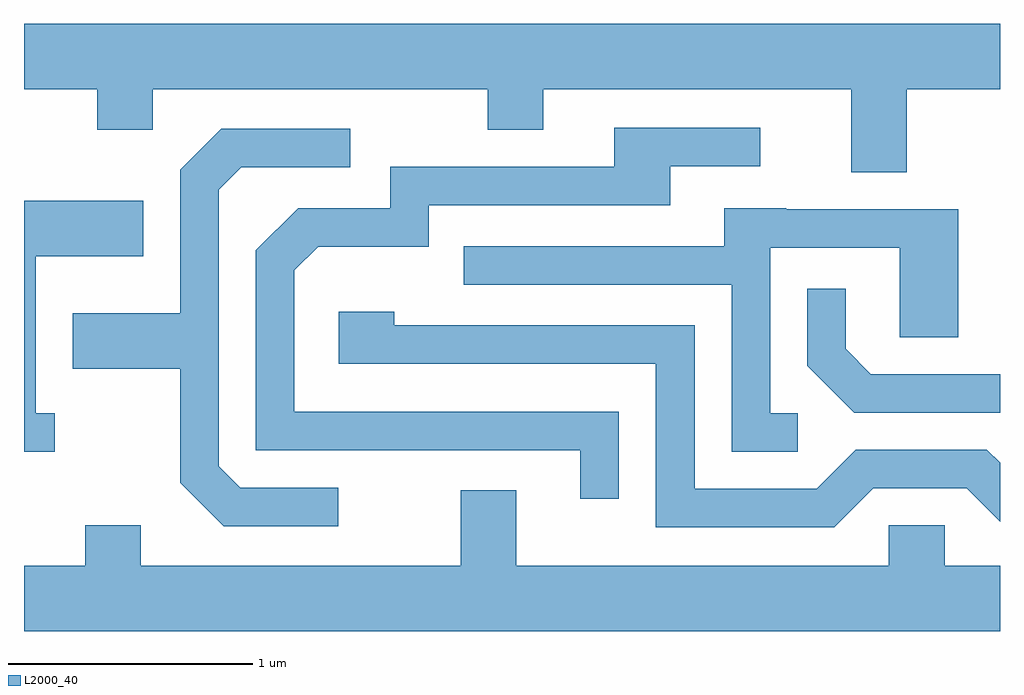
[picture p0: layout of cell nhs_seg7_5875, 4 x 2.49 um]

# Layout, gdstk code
import gdstk
lib = gdstk.Library(unit=1e-6, precision=1e-09)
def P(c, l, *ps):  # polygons
    for p in ps: c.add(gdstk.Polygon(p, *l))
L2000_40 = (2000, 40)

nhs_seg7_5875 = lib.new_cell('nhs_seg7_5875')
P(nhs_seg7_5875, L2000_40, [(363.611,1805.336),(363.911,1805.336),(363.911,1805.171),(364.139,1805.171),(364.139,1805.336),(365.511,1805.336),(365.511,1805.171),(365.739,1805.171),(365.739,1805.336),(367.001,1805.336),(367.001,1804.996),(367.229,1804.996),(367.229,1805.336),(367.611,1805.336),(367.611,1805.604),(363.611,1805.604)],
  [(366.049,1804.014),(364.719,1804.014),(364.719,1804.594),(364.817,1804.691),(365.269,1804.691),(365.269,1804.861),(366.259,1804.861),(366.259,1805.021),(366.628,1805.021),(366.628,1805.179),(366.031,1805.179),(366.031,1805.019),(365.111,1805.019),(365.111,1804.849),(364.734,1804.849),(364.561,1804.677),(364.561,1803.856),(365.891,1803.856),(365.891,1803.658),(366.049,1803.658)],
  [(364.898,1803.704),(364.497,1803.704),(364.409,1803.792),(364.409,1804.924),(364.502,1805.016),(364.948,1805.016),(364.948,1805.174),(364.419,1805.174),(364.251,1805.007),(364.251,1804.419),(363.811,1804.419),(363.811,1804.191),(364.251,1804.191),(364.251,1803.724),(364.429,1803.546),(364.898,1803.546)],
  [(363.738,1804.009),(363.659,1804.009),(363.659,1804.651),(364.099,1804.651),(364.099,1804.879),(363.611,1804.879),(363.611,1803.851),(363.738,1803.851)],
  [(366.783,1804.009),(366.669,1804.009),(366.669,1804.686),(367.201,1804.686),(367.201,1804.321),(367.439,1804.321),(367.439,1804.844),(366.735,1804.844),(366.735,1804.849),(366.481,1804.849),(366.481,1804.694),(365.413,1804.694),(365.413,1804.536),(366.511,1804.536),(366.511,1803.851),(366.783,1803.851)],
  [(367.611,1804.169),(367.082,1804.169),(366.979,1804.272),(366.979,1804.518),(366.821,1804.518),(366.821,1804.204),(367.014,1804.011),(367.611,1804.011)],
  [(367.092,1803.701),(367.474,1803.701),(367.611,1803.564),(367.611,1803.805),(367.557,1803.859),(367.019,1803.859),(366.859,1803.699),(366.359,1803.699),(366.359,1804.369),(365.129,1804.369),(365.129,1804.424),(364.901,1804.424),(364.901,1804.211),(366.201,1804.211),(366.201,1803.541),(366.932,1803.541)],
  [(367.611,1803.384),(367.384,1803.384),(367.384,1803.549),(367.156,1803.549),(367.156,1803.384),(365.629,1803.384),(365.629,1803.694),(365.401,1803.694),(365.401,1803.384),(364.089,1803.384),(364.089,1803.549),(363.861,1803.549),(363.861,1803.384),(363.611,1803.384),(363.611,1803.116),(367.611,1803.116)])

lib.write_gds('nhs_seg7_5875.gds')
